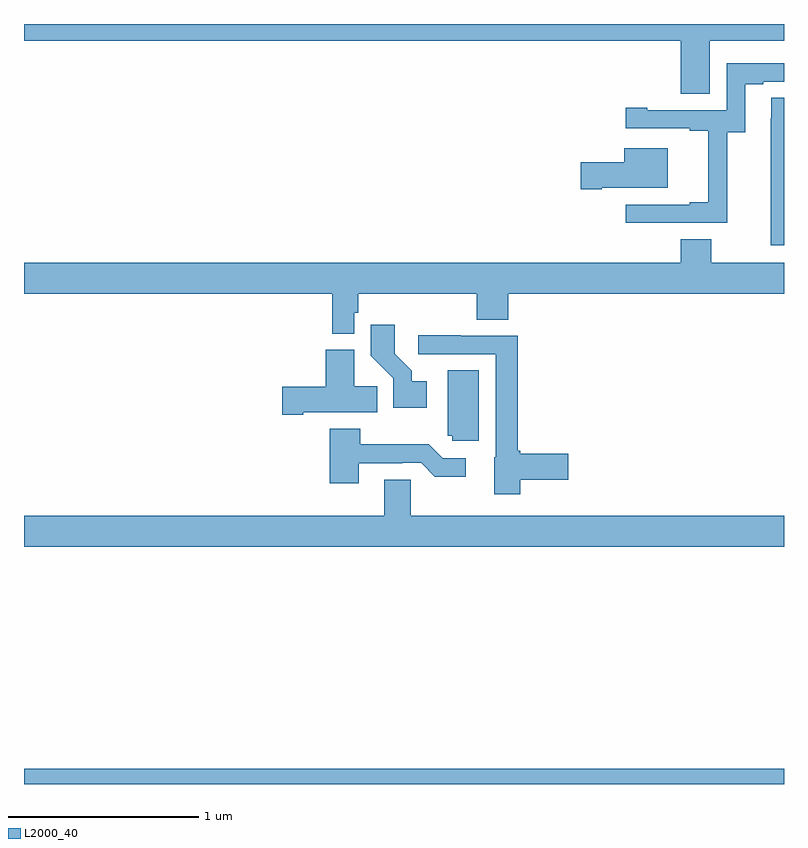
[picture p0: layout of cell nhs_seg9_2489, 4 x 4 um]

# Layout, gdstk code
import gdstk
lib = gdstk.Library(unit=1e-6, precision=1e-09)
def R(c, l, rs):  # rectangles x0, y0, x1, y1
    for r in rs: c.add(gdstk.rectangle(r[:2], r[2:], *l))
def P(c, l, *ps):  # polygons
    for p in ps: c.add(gdstk.Polygon(p, *l))
L2000_40 = (2000, 40)

nhs_seg9_2489 = lib.new_cell('nhs_seg9_2489')
R(nhs_seg9_2489, L2000_40, [(253,1200.5,257,1200.58)])
P(nhs_seg9_2489, L2000_40, [(253,1204.412),(256.457,1204.412),(256.457,1204.132),(256.609,1204.132),(256.609,1204.412),(257,1204.412),(257,1204.5),(253,1204.5)],
  [(256.701,1203.931),(256.795,1203.931),(256.795,1204.182),(256.891,1204.182),(256.891,1204.197),(257,1204.197),(257,1204.293),(256.698,1204.293),(256.698,1204.047),(256.279,1204.047),(256.279,1204.06),(256.166,1204.06),(256.166,1203.951),(256.505,1203.951),(256.505,1203.939),(256.601,1203.939),(256.601,1203.562),(256.505,1203.562),(256.505,1203.549),(256.166,1203.549),(256.166,1203.453),(256.701,1203.453)],
  [(257,1204.112),(256.932,1204.112),(256.932,1204.004),(256.931,1204.004),(256.931,1203.336),(257,1203.336)],
  [(256.042,1203.638),(256.387,1203.638),(256.387,1203.847),(256.16,1203.847),(256.16,1203.773),(255.93,1203.773),(255.93,1203.631),(256.042,1203.631)],
  [(254.739,1202.979),(254.759,1202.979),(254.759,1203.08),(255.383,1203.08),(255.383,1202.944),(255.548,1202.944),(255.548,1203.08),(257,1203.08),(257,1203.244),(256.617,1203.244),(256.617,1203.368),(256.457,1203.368),(256.457,1203.244),(253,1203.244),(253,1203.08),(254.623,1203.08),(254.623,1202.87),(254.739,1202.87)],
  [(255.121,1202.62),(255.04,1202.62),(255.04,1202.675),(254.95,1202.765),(254.95,1202.917),(254.824,1202.917),(254.824,1202.754),(254.943,1202.635),(254.943,1202.48),(255.121,1202.48)],
  [(255.612,1202.102),(255.865,1202.102),(255.865,1202.237),(255.612,1202.237),(255.612,1202.255),(255.599,1202.255),(255.599,1202.859),(255.299,1202.859),(255.299,1202.862),(255.075,1202.862),(255.075,1202.763),(255.483,1202.763),(255.483,1202.22),(255.476,1202.22),(255.476,1202.024),(255.612,1202.024)],
  [(254.47,1202.456),(254.858,1202.456),(254.858,1202.594),(254.737,1202.594),(254.737,1202.785),(254.588,1202.785),(254.588,1202.591),(254.358,1202.591),(254.358,1202.444),(254.47,1202.444)],
  [(255.394,1202.678),(255.23,1202.678),(255.23,1202.334),(255.255,1202.334),(255.255,1202.307),(255.394,1202.307)],
  [(254.761,1202.187),(254.99,1202.187),(254.99,1202.19),(255.09,1202.19),(255.163,1202.117),(255.325,1202.117),(255.325,1202.214),(255.204,1202.214),(255.131,1202.287),(254.769,1202.287),(254.769,1202.371),(254.609,1202.371),(254.609,1202.082),(254.761,1202.082)],
  [(257,1201.912),(255.036,1201.912),(255.036,1202.102),(254.897,1202.102),(254.897,1201.912),(253,1201.912),(253,1201.748),(257,1201.748)])

lib.write_gds('nhs_seg9_2489.gds')
